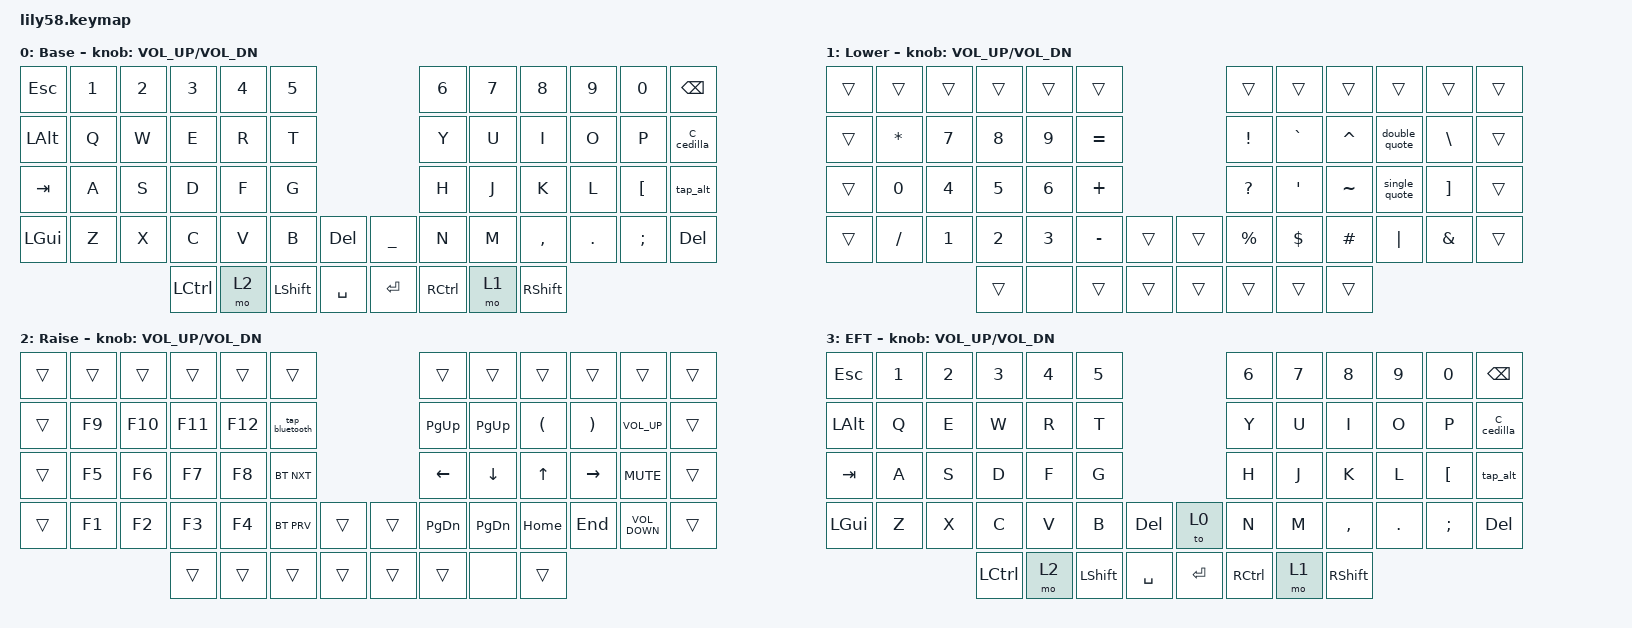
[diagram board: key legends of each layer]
/*
 * Copyright (c) 2020 The ZMK Contributors
 *
 * SPDX-License-Identifier: MIT
 */

#include <behaviors.dtsi>
#include <dt-bindings/zmk/bt.h>
#include <dt-bindings/zmk/keys.h>

/ {
    macros {
        C_cedilla: C_alpha {
            compatible = "zmk,behavior-macro";
            #binding-cells = <0>;
            bindings = <&kt RIGHT_ALT &kp COMMA &kt RIGHT_ALT>;
            label = "C_ALPHA";
        };

        single_quote: single_quote {
            compatible = "zmk,behavior-macro";
            #binding-cells = <0>;
            bindings = <&kp SINGLE_QUOTE &kp SINGLE_QUOTE>;
            label = "SINGLE_QUOTE";
        };

        double_quote: dable_quote {
            compatible = "zmk,behavior-macro";
            #binding-cells = <0>;
            bindings = <&kp DOUBLE_QUOTES &kp DOUBLE_QUOTES>;
            label = "DABLE_QUOTE";
        };
    };

    behaviors {
        tap_bluetooth: tap_bluetooth {
            compatible = "zmk,behavior-tap-dance";
            label = "TAP_BLUETOOTH";
            #binding-cells = <0>;
            bindings = <&bt BT_SEL 0>, <&bt BT_CLR>;
        };

        tap_alt: tap_alt {
            compatible = "zmk,behavior-tap-dance";
            label = "TAP_ALT";
            #binding-cells = <0>;
            bindings = <&kp LEFT_ALT>, <&kp RIGHT_ALT>;
        };
    };

    combos {
        compatible = "zmk,combos";

        EFT {
            bindings = <&to 3>;
            key-positions = <42 43>;
        };

        Reset {
            bindings = <&to 0>;
            key-positions = <0 11>;
        };
    };

    keymap {
        compatible = "zmk,keymap";

        default_layer {
            // ------------------------------------------------------------------------------------------------------------
            // |  ESC  |  1  |  2  |  3   |  4   |  5   |                   |  6   |  7    |  8    |  9   |   0   |   `   |
            // |  TAB  |  Q  |  W  |  E   |  R   |  T   |                   |  Y   |  U    |  I    |  O   |   P   |   -   |
            // |  CTRL |  A  |  S  |  D   |  F   |  G   |                   |  H   |  J    |  K    |  L   |   ;   |   '   |
            // | SHIFT |  Z  |  X  |  C   |  V   |  B   |   "["  |  |  "]"  |  N   |  M    |  ,    |  .   |   /   | SHIFT |
            //                     | ALT  | GUI  | LOWER|  SPACE |  | ENTER | RAISE| BSPC  | GUI   |

            display-name = "Base";
            bindings = <
&kp ESC       &kp N1  &kp N2  &kp N3     &kp N4  &kp N5                                        &kp N6     &kp N7  &kp N8           &kp N9   &kp N0            &kp BACKSPACE
&kp LEFT_ALT  &kp Q   &kp W   &kp E      &kp R   &kp T                                         &kp Y      &kp U   &kp I            &kp O    &kp P             &C_cedilla
&kp TAB       &kp A   &kp S   &kp D      &kp F   &kp G                                         &kp H      &kp J   &kp K            &kp L    &kp LEFT_BRACKET  &tap_alt
&kp LEFT_GUI  &kp Z   &kp X   &kp C      &kp V   &kp B           &kp DELETE    &kp UNDERSCORE  &kp N      &kp M   &kp COMMA        &kp DOT  &kp SEMICOLON     &kp DELETE
                              &kp LCTRL  &mo 2   &kp LEFT_SHIFT  &kp SPACE     &kp RET         &kp RCTRL  &mo 1   &kp RIGHT_SHIFT
            >;

            sensor-bindings = <&inc_dec_kp C_VOL_UP C_VOL_DN>;
        };

        lower_layer {
            // ------------------------------------------------------------------------------------------------------------
            // | BTCLR | BT1 | BT2 |  BT3 |  BT4 |  BT5 |                   |      |       |       |      |       |       |
            // |  F1   |  F2 |  F3 |  F4  |  F5  |  F6  |                   |  F7  |  F8   |  F9   |  F10 |  F11  |  F12  |
            // |   `   |  !  |  @  |  #   |  $   |  %   |                   |  ^   |  &    |  *    |  (   |   )   |   ~   |
            // |       |     |     |      |      |      |        |  |       |      |  _    |  +    |  {   |   }   |  "|"  |
            //                     |      |      |      |        |  |       |      |       |       |

            display-name = "Lower";
            bindings = <
&trans  &trans     &trans  &trans  &trans  &trans                       &trans           &trans          &trans     &trans         &trans             &trans
&trans  &kp ASTRK  &kp N7  &kp N8  &kp N9  &kp EQUAL                    &kp EXCLAMATION  &kp GRAVE       &kp CARET  &double_quote  &kp BACKSLASH      &trans
&trans  &kp N0     &kp N4  &kp N5  &kp N6  &kp PLUS                     &kp QUESTION     &kp APOSTROPHE  &kp TILDE  &single_quote  &kp RIGHT_BRACKET  &trans
&trans  &kp SLASH  &kp N1  &kp N2  &kp N3  &kp MINUS  &trans    &trans  &kp PERCENT      &kp DOLLAR      &kp HASH   &kp PIPE       &kp AMPERSAND      &trans
                           &trans  &none   &trans     &trans    &trans  &trans           &trans          &trans
            >;

            sensor-bindings = <&inc_dec_kp C_VOL_UP C_VOL_DN>;
        };

        raise_layer {
            // ------------------------------------------------------------------------------------------------------------
            // |       |     |     |      |      |      |                   |      |       |       |      |       |       |
            // |   `   |  1  |  2  |  3   |  4   |  5   |                   |  6   |   7   |   8   |  9   |   0   |       |
            // |   F1  |  F2 |  F3 |  F4  |  F5  |  F6  |                   |      |   <-  |   v   |  ^   |  ->   |       |
            // |   F7  |  F8 |  F9 |  F10 |  F11 |  F12 |        |  |       |  +   |   -   |   =   |  [   |   ]   |   \   |
            //                     |      |      |      |        |  |       |      |       |       |

            display-name = "Raise";
            bindings = <
&trans  &trans  &trans   &trans   &trans   &trans                            &trans          &trans          &trans                &trans                 &trans             &trans
&trans  &kp F9  &kp F10  &kp F11  &kp F12  &tap_bluetooth                    &kp PAGE_UP     &kp PAGE_UP     &kp LEFT_PARENTHESIS  &kp RIGHT_PARENTHESIS  &kp C_VOLUME_UP    &trans
&trans  &kp F5  &kp F6   &kp F7   &kp F8   &bt BT_NXT                        &kp LEFT_ARROW  &kp DOWN_ARROW  &kp UP_ARROW          &kp RIGHT_ARROW        &kp K_MUTE         &trans
&trans  &kp F1  &kp F2   &kp F3   &kp F4   &bt BT_PRV      &trans    &trans  &kp PAGE_DOWN   &kp PAGE_DOWN   &kp HOME              &kp END                &kp C_VOLUME_DOWN  &trans
                         &trans   &trans   &trans          &trans    &trans  &trans          &none           &trans
            >;

            sensor-bindings = <&inc_dec_kp C_VOL_UP C_VOL_DN>;
        };

        EFT {
            display-name = "EFT";
            bindings = <
&kp ESC       &kp N1  &kp N2  &kp N3     &kp N4  &kp N5                                 &kp N6     &kp N7  &kp N8           &kp N9   &kp N0            &kp BACKSPACE
&kp LEFT_ALT  &kp Q   &kp E   &kp W      &kp R   &kp T                                  &kp Y      &kp U   &kp I            &kp O    &kp P             &C_cedilla
&kp TAB       &kp A   &kp S   &kp D      &kp F   &kp G                                  &kp H      &kp J   &kp K            &kp L    &kp LEFT_BRACKET  &tap_alt
&kp LEFT_GUI  &kp Z   &kp X   &kp C      &kp V   &kp B           &kp DELETE    &to 0    &kp N      &kp M   &kp COMMA        &kp DOT  &kp SEMICOLON     &kp DELETE
                              &kp LCTRL  &mo 2   &kp LEFT_SHIFT  &kp SPACE     &kp RET  &kp RCTRL  &mo 1   &kp RIGHT_SHIFT
            >;

            sensor-bindings = <&inc_dec_kp C_VOL_UP C_VOL_DN>;
        };
    };
};
